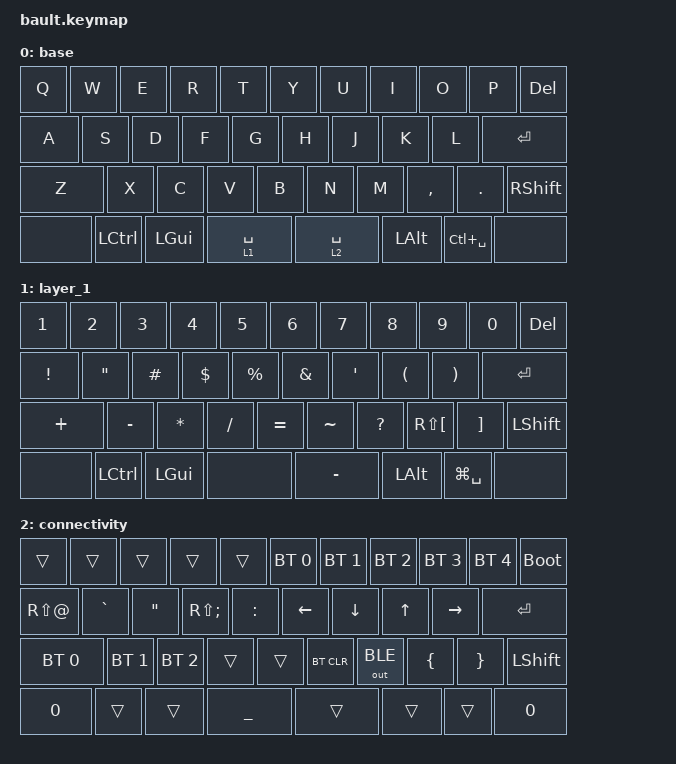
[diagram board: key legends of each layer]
#include <behaviors.dtsi>
#include <dt-bindings/zmk/bt.h>
#include <dt-bindings/zmk/keys.h>
#include <dt-bindings/zmk/outputs.h>

/ {
    behaviors {
        hm: homerow_mods {
            compatible = "zmk,behavior-hold-tap";
            display-name = "Homerow Mods";
            bindings = <&kp>, <&kp>;

            #binding-cells = <2>;
            tapping-term-ms = <200>;
            quick-tap-ms = <180>;
            require-prior-idle-ms = <0>;
            flavor = "tap-preferred";
        };
    };

    combos {
        compatible = "zmk,combos";

        Esc {
            bindings = <&kp LS(ESC)>;
            key-positions = <0 1>;
        };

        Tab {
            bindings = <&kp TAB>;
            key-positions = <12 11>;
        };

        CapsLock {
            bindings = <&kp CAPS>;
            key-positions = <22 21>;
        };
    };

    keymap {
        compatible = "zmk,keymap";

        base {
            bindings = <
&kp Q  &kp W             &kp E         &kp R        &kp T  &kp Y        &kp U  &kp I         &kp O          &kp P            &kp DELETE
&kp A  &kp S             &kp D         &kp F        &kp G  &kp H        &kp J  &kp K         &kp L          &kp ENTER
&kp Z  &kp X             &kp C         &kp V        &kp B  &kp N        &kp M  &kp COMMA     &kp PERIOD     &kp RIGHT_SHIFT
&none  &kp LEFT_CONTROL  &kp LEFT_GUI  &lt 1 SPACE         &lt 2 SPACE         &kp LEFT_ALT  &kp LC(SPACE)  &none
            >;
        };

        layer_1 {
            bindings = <
&kp N1           &kp N2             &kp N3        &kp N4      &kp N5       &kp N6         &kp N7        &kp N8                &kp N9                 &kp N0          &kp DELETE
&kp EXCLAMATION  &kp DOUBLE_QUOTES  &kp HASH      &kp DOLLAR  &kp PERCENT  &kp AMPERSAND  &kp SQT       &kp LEFT_PARENTHESIS  &kp RIGHT_PARENTHESIS  &kp ENTER
&kp PLUS         &kp MINUS          &kp ASTERISK  &kp SLASH   &kp EQUAL    &kp TILDE      &kp QUESTION  &kp RS(LEFT_BRACKET)  &kp RIGHT_BRACKET      &kp LEFT_SHIFT
&none            &kp LEFT_CONTROL   &kp LEFT_GUI  &none                    &kp MINUS                    &kp LEFT_ALT          &kp LG(SPACE)          &none
            >;
        };

        connectivity {
            bindings = <
&trans           &trans        &trans             &trans             &trans     &bt BT_SEL 0  &bt BT_SEL 1  &bt BT_SEL 2    &bt BT_SEL 3     &bt BT_SEL 4    &bootloader
&kp RS(AT_SIGN)  &kp GRAVE     &kp DOUBLE_QUOTES  &kp RS(SEMICOLON)  &kp COLON  &kp LEFT      &kp DOWN      &kp UP_ARROW    &kp RIGHT        &kp ENTER
&bt BT_SEL 0     &bt BT_SEL 1  &bt BT_SEL 2       &trans             &trans     &bt BT_CLR    &out OUT_BLE  &kp LEFT_BRACE  &kp RIGHT_BRACE  &kp LEFT_SHIFT
&kp N0           &trans        &trans             &kp UNDERSCORE                &trans                      &trans          &trans           &kp N0
            >;
        };
    };
};
